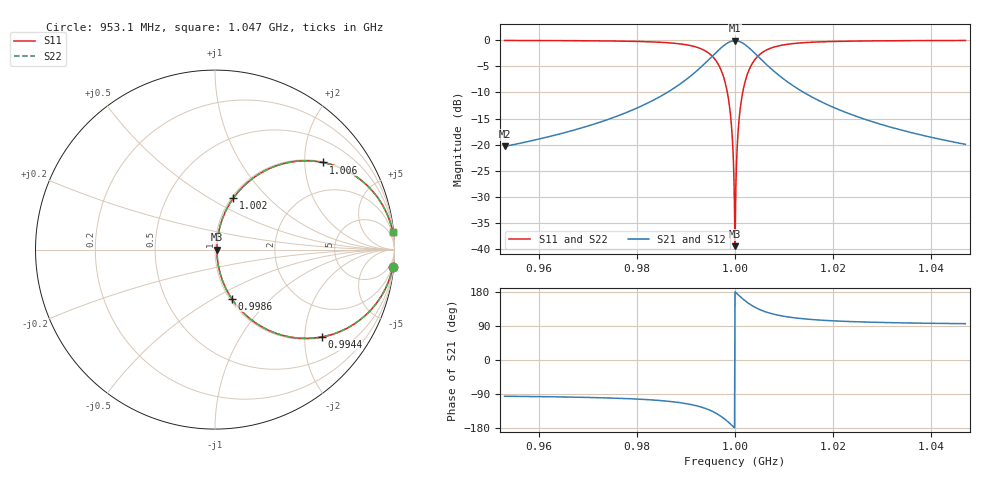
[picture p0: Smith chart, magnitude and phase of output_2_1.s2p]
! File generated for n1 = 2, n2 = 1
! b1 = 46.415888
! b2 = 46.415888
! Q0 = 10000.000000
! f0 = 1000000000.000000
! n = 1001
! rel_span = 10.000000
# Hz S RI R 50
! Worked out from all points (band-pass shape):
!   1001 points, 953.1 MHz to 1.047 GHz, reference 50 ohm
!   highest |S21| = -0.09 dB at 1 GHz (marker M1); lowest = -20.3 dB at 953.1 MHz (marker M2)
!   |S21| within 3 dB of the highest: 995.3 MHz to 1.005 GHz (9.361 MHz wide, 0.936 % of centre)
!   lowest |S11| = -39.4 dB at 1 GHz (marker M3), VSWR 1.02, Z = 51.1 + j0 ohm
!   |S11| at or under -10 dB: 998.4375 MHz to 1.001565 GHz (3.127 MHz wide, 0.313 % of centre)
!   |S22| runs from -39.4 to 0.0 dB; largest |S21 - S12| = 0
!   S11 on the Smith chart (normalised r, x): 953.1 MHz: 1, -21; 994.4 MHz: 1.02, -2.43; 998.6 MHz: 1.02, -0.61; 1.002 GHz: 1.02, +0.65; 1.006 GHz: 1.02, +2.46; 1.047 GHz: 1, +20
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9.530841e8  0.9907 -0.0956  -0.00933 -0.0956  -0.00933 -0.0956  0.9907 -0.0956
9.68754e8  0.9789 -0.1431  -0.0211 -0.1431  -0.0211 -0.1431  0.9789 -0.1431
9.844239e8  0.9189 -0.2714  -0.0811 -0.2714  -0.0811 -0.2714  0.9189 -0.2714
9.904292e8  0.8098 -0.3899  -0.1902 -0.3899  -0.1902 -0.3899  0.8098 -0.3899
9.943701e8  0.5959 -0.4863  -0.4041 -0.4863  -0.4041 -0.4863  0.5959 -0.4863
9.969974e8  0.2988 -0.4495  -0.7012 -0.4495  -0.7012 -0.4495  0.2988 -0.4495
9.979357e8  0.1714 -0.365  -0.8286 -0.365  -0.8286 -0.365  0.1714 -0.365
9.985925e8  0.0925 -0.2725  -0.9075 -0.2725  -0.9075 -0.2725  0.0925 -0.2725
9.992493e8  0.0354 -0.1544  -0.9646 -0.1544  -0.9646 -0.1544  0.0354 -0.1544
9.997185e8  0.0142 -0.0592  -0.9858 -0.0592  -0.9858 -0.0592  0.0142 -0.0592
1e9  0.0107 0  -0.9893 0  -0.9893 0  0.0107 0
1.000188e9  0.0122 0.0395  -0.9878 0.0395  -0.9878 0.0395  0.0122 0.0395
1.000375e9  0.0169 0.0786  -0.9831 0.0786  -0.9831 0.0786  0.0169 0.0786
1.000657e9  0.0297 0.1358  -0.9703 0.1358  -0.9703 0.1358  0.0297 0.1358
1.000844e9  0.0417 0.1724  -0.9583 0.1724  -0.9583 0.1724  0.0417 0.1724
1.001501e9  0.1024 0.287  -0.8976 0.287  -0.8976 0.287  0.1024 0.287
1.003096e9  0.3102 0.4546  -0.6898 0.4546  -0.6898 0.4546  0.3102 0.4546
1.005724e9  0.6011 0.4853  -0.3989 0.4853  -0.3989 0.4853  0.6011 0.4853
1.009665e9  0.8099 0.3898  -0.1901 0.3898  -0.1901 0.3898  0.8099 0.3898
1.01567e9  0.9174 0.2736  -0.0826 0.2736  -0.0826 0.2736  0.9174 0.2736
1.03134e9  0.9777 0.147  -0.0223 0.147  -0.0223 0.147  0.9777 0.147
1.046916e9  0.9898 0.1002  -0.0102 0.1002  -0.0102 0.1002  0.9898 0.1002
